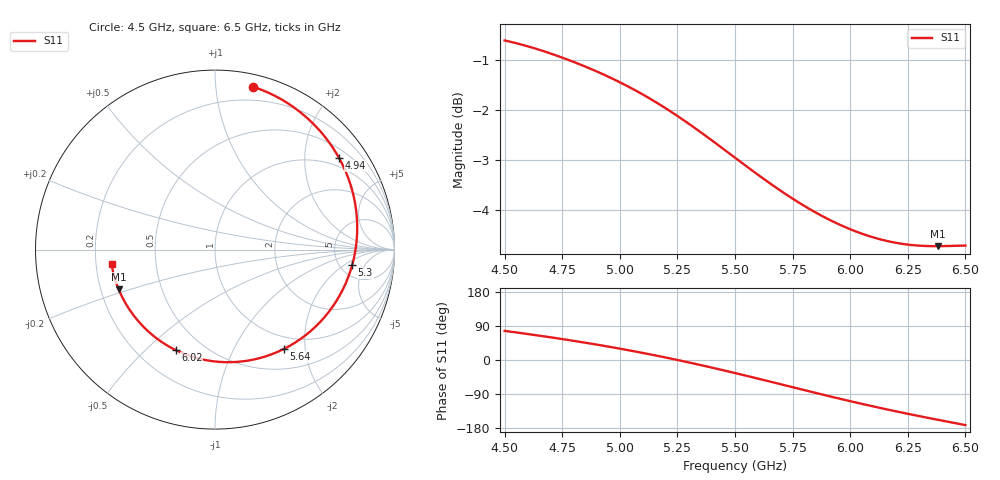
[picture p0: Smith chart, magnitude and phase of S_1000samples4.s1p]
! TOUCHSTONE file generated by CST MICROWAVE STUDIO
! Date and time: Wed Oct 26 16:10:03 2022
! Project name: L.cst
! Parameters = {Di=1.27; Epsilon_r=1.56; InnerDiameter=1.27; Length=2; Lf=10; Lg=60; OuterConductorThickness=0.2921; OuterDiameter=3.6; Wf=3; Wp=41.2; de=1.5; df=6.8; g=0.8; gx=1.21712; gy=1.83962; h=2.34; hf=1.524; px=8.35428; py=10.4819; w=9.7; wx=7.13717; wy=8.64231}
! Header version: 2018
! Port assignment regex: !\s*Touchstone port\s*([0-9]+)\s*=\s*(CST MWS port|CST DS port)\s*([0-9]+|Zmin|Zmax)\s*\(\"(.*)\"\)(\s*mode\s*([0-9]+))?.*
! Touchstone port assignment:
! Touchstone port 1 = CST MWS port 1 ("")
# GHz S DB R 50
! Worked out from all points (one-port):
!   101 points, 4.5 GHz to 6.5 GHz, reference 50 ohm
!   lowest |S11| = -4.7 dB at 6.38 GHz (marker M1), VSWR 3.77, Z = 13.7 - j9.14 ohm
!   |S11| at or under -10 dB: nowhere
!   S11 on the Smith chart (normalised r, x): 4.5 GHz: 0.09, +1.26; 4.94 GHz: 0.74, +2.87; 5.3 GHz: 6.46, -2.75; 5.64 GHz: 0.80, -1.62; 6.02 GHz: 0.35, -0.62; 6.5 GHz: 0.27, -0.07
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4.5  -0.62 76.9
4.62  -0.76 66.9
4.68  -0.85 61.6
4.76  -0.98 54.3
4.84  -1.12 46.6
4.94  -1.32 36.4
5  -1.45 30.0
5.08  -1.64 20.9
5.14  -1.80 13.8
5.2  -1.97 6.4
5.26  -2.15 -1.2
5.3  -2.28 -6.5
5.34  -2.41 -11.9
5.4  -2.61 -20.1
5.5  -2.96 -34.4
5.58  -3.23 -46.2
5.64  -3.43 -55.1
5.7  -3.62 -64.2
5.76  -3.80 -73.2
5.82  -3.97 -82.3
5.88  -4.12 -91.2
5.94  -4.26 -100.0
6  -4.38 -108.6
6.02  -4.42 -111.4
6.14  -4.60 -127.8
6.26  -4.70 -143.2
6.38  -4.72 -157.7
6.5  -4.71 -171.8
